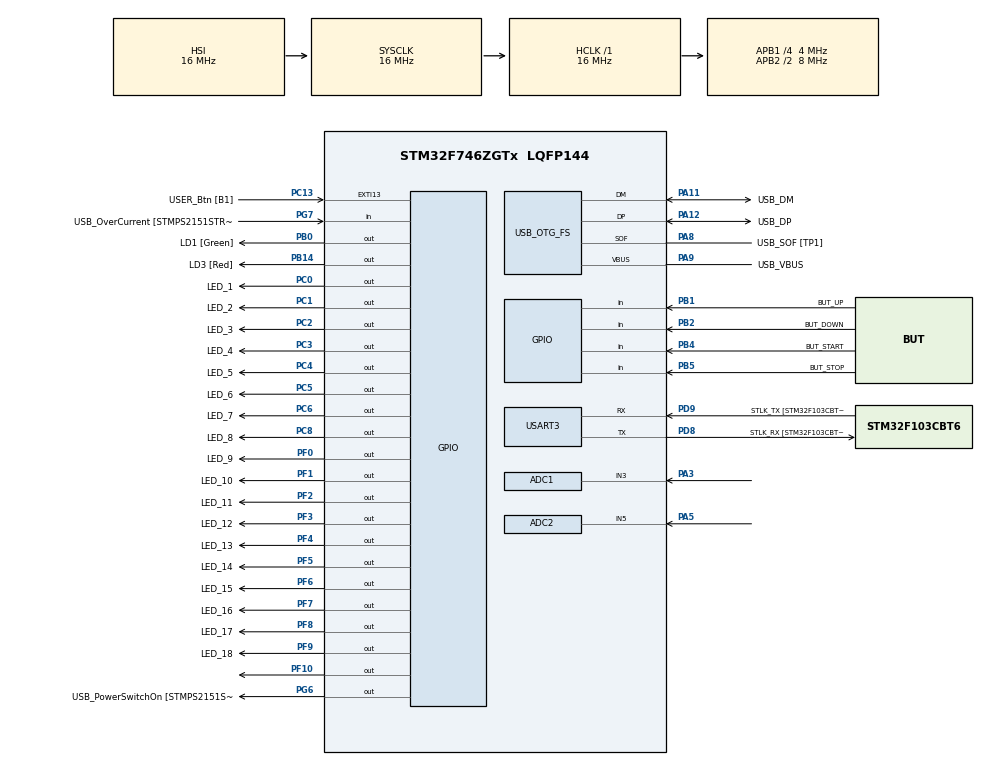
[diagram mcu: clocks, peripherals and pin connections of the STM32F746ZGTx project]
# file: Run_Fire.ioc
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ADC1.Channel-9\#ChannelRegularConversion=ADC_CHANNEL_3
ADC1.ContinuousConvMode=ENABLE
ADC1.DMAContinuousRequests=DISABLE
ADC1.NbrOfConversionFlag=1
ADC1.Rank-9\#ChannelRegularConversion=1
ADC1.SamplingTime-9\#ChannelRegularConversion=ADC_SAMPLETIME_3CYCLES
ADC1.master=1
ADC2.Channel-0\#ChannelRegularConversion=ADC_CHANNEL_5
ADC2.NbrOfConversionFlag=1
ADC2.Rank-0\#ChannelRegularConversion=1
ADC2.SamplingTime-0\#ChannelRegularConversion=ADC_SAMPLETIME_3CYCLES
CORTEX_M7.CPU_ICache=Enabled
FREERTOS.Tasks01=defaultTask,24,128,StartDefaultTask,Default,NULL,Dynamic,NULL,NULL;ButtonTask,25,400,ButtonTaskFunction,Default,NULL,Dynamic,NULL,NULL;MainFSM,19,400,MainFSMFunction,Default,NULL,Dynamic,NULL,NULL;AdcTask,8,128,AdcTaskFunction,Default,NULL,Dynamic,NULL,NULL
Mcu.Family=STM32F7
Mcu.Name=STM32F746ZGTx
Mcu.Package=LQFP144
NVIC.ADC_IRQn=true\:5\:0\:false\:false\:true\:true\:true\:true
NVIC.PriorityGroup=NVIC_PRIORITYGROUP_4
NVIC.RCC_IRQn=true\:5\:0\:false\:false\:true\:true\:true\:false
NVIC.TIM1_TRG_COM_TIM11_IRQn=true\:15\:0\:false\:false\:true\:false\:false\:true
NVIC.TIM7_IRQn=true\:5\:0\:false\:false\:true\:true\:true\:true
NVIC.TimeBase=TIM1_TRG_COM_TIM11_IRQn
NVIC.TimeBaseIP=TIM11
PA1.GPIO_Label=RMII_REF_CLK [LAN8742A-CZ-TR_REFCLK0]
PA1.Signal=ETH_REF_CLK
PA10.GPIO_Label=USB_ID
PA10.Signal=USB_OTG_FS_ID
PA11.GPIO_Label=USB_DM
PA11.Mode=Device_Only
PA11.Signal=USB_OTG_FS_DM
PA12.GPIO_Label=USB_DP
PA12.Mode=Device_Only
PA12.Signal=USB_OTG_FS_DP
PA13.GPIO_Label=TMS
PA13.Mode=Serial_Wire
PA13.Signal=SYS_JTMS-SWDIO
PA14.GPIO_Label=TCK
PA14.Mode=Serial_Wire
PA14.Signal=SYS_JTCK-SWCLK
PA2.GPIO_Label=RMII_MDIO [LAN8742A-CZ-TR_MDIO]
PA2.Signal=ETH_MDIO
PA3.Signal=ADCx_IN3
PA5.Signal=ADCx_IN5
PA7.GPIO_Label=RMII_CRS_DV [LAN8742A-CZ-TR_CRS_DV]
PA7.Signal=ETH_CRS_DV
PA8.GPIO_Label=USB_SOF [TP1]
PA8.Mode=Activate_SOF_FS
PA8.Signal=USB_OTG_FS_SOF
PA9.GPIO_Label=USB_VBUS
PA9.Mode=Activate_VBUS
PA9.Signal=USB_OTG_FS_VBUS
PB0.GPIO_Label=LD1 [Green]
PB0.Signal=GPIO_Output
PB1.GPIO_Label=BUT_UP
PB1.GPIO_PuPd=GPIO_PULLUP
PB1.Signal=GPIO_Input
PB13.GPIO_Label=RMII_TXD1 [LAN8742A-CZ-TR_TXD1]
PB13.Signal=ETH_TXD1
PB14.GPIO_Label=LD3 [Red]
PB14.Signal=GPIO_Output
PB2.GPIO_Label=BUT_DOWN
PB2.GPIO_PuPd=GPIO_PULLUP
PB2.Signal=GPIO_Input
PB3.GPIO_Label=SW0
PB3.Signal=SYS_JTDO-SWO
PB4.GPIO_Label=BUT_START
PB4.GPIO_PuPd=GPIO_PULLUP
PB4.Signal=GPIO_Input
PB5.GPIO_Label=BUT_STOP
PB5.GPIO_PuPd=GPIO_PULLUP
PB5.Signal=GPIO_Input
PC0.GPIO_Label=LED_1
PC0.Signal=GPIO_Output
PC1.GPIO_Label=LED_2
PC1.Signal=GPIO_Output
PC13.GPIO_Label=USER_Btn [B1]
PC13.Signal=GPXTI13
PC14/OSC32_IN.Mode=LSE-External-Clock-Source
PC14/OSC32_IN.Signal=RCC_OSC32_IN
PC15/OSC32_OUT.Mode=LSE-External-Clock-Source
PC15/OSC32_OUT.Signal=RCC_OSC32_OUT
PC2.GPIO_Label=LED_3
PC2.Signal=GPIO_Output
PC3.GPIO_Label=LED_4
PC3.Signal=GPIO_Output
PC4.GPIO_Label=LED_5
PC4.Signal=GPIO_Output
PC5.GPIO_Label=LED_6
PC5.Signal=GPIO_Output
PC6.GPIO_Label=LED_7
PC6.Signal=GPIO_Output
PC8.GPIO_Label=LED_8
PC8.Signal=GPIO_Output
PD8.GPIO_Label=STLK_RX [STM32F103CBT6_PA3]
PD8.Mode=Asynchronous
PD8.Signal=USART3_TX
PD9.GPIO_Label=STLK_TX [STM32F103CBT6_PA2]
PD9.Mode=Asynchronous
PD9.Signal=USART3_RX
PF0.GPIO_Label=LED_9
PF0.Signal=GPIO_Output
PF1.GPIO_Label=LED_10
PF1.Signal=GPIO_Output
PF10.Signal=GPIO_Output
PF2.GPIO_Label=LED_11
PF2.Signal=GPIO_Output
PF3.GPIO_Label=LED_12
PF3.Signal=GPIO_Output
PF4.GPIO_Label=LED_13
PF4.Signal=GPIO_Output
PF5.GPIO_Label=LED_14
PF5.Signal=GPIO_Output
PF6.GPIO_Label=LED_15
PF6.Signal=GPIO_Output
PF7.GPIO_Label=LED_16
PF7.Signal=GPIO_Output
PF8.GPIO_Label=LED_17
PF8.Signal=GPIO_Output
PF9.GPIO_Label=LED_18
PF9.Signal=GPIO_Output
PG11.GPIO_Label=RMII_TX_EN [LAN8742A-CZ-TR_TXEN]
PG11.Signal=ETH_TX_EN
PG13.GPIO_Label=RMII_TXD0 [LAN8742A-CZ-TR_TXD0]
PG13.Signal=ETH_TXD0
PG6.GPIO_Label=USB_PowerSwitchOn [STMPS2151STR_EN]
PG6.Signal=GPIO_Output
PG7.GPIO_Label=USB_OverCurrent [STMPS2151STR_FAULT]
PG7.Signal=GPIO_Input
PH0/OSC_IN.GPIO_Label=MCO [STM32F103CBT6_PA8]
PH0/OSC_IN.Mode=HSE-External-Clock-Source
PH0/OSC_IN.Signal=RCC_OSC_IN
PH1/OSC_OUT.Mode=HSE-External-Clock-Source
PH1/OSC_OUT.Signal=RCC_OSC_OUT
ProjectManager.HeapSize=0x2000
ProjectManager.StackSize=0x4000
ProjectManager.TargetToolchain=MDK-ARM V5.32
RCC.48MHZClocksFreq_Value=24000000
RCC.AHBFreq_Value=16000000
RCC.APB1CLKDivider=RCC_HCLK_DIV4
RCC.APB1Freq_Value=4000000
RCC.APB1TimFreq_Value=8000000
RCC.APB2CLKDivider=RCC_HCLK_DIV2
RCC.APB2Freq_Value=8000000
RCC.APB2TimFreq_Value=16000000
RCC.CortexFreq_Value=16000000
RCC.HCLKFreq_Value=16000000
RCC.HSE_VALUE=8000000
RCC.HSI_VALUE=16000000
RCC.PLLM=4
RCC.PLLMUL=RCC_PLL_MUL9
RCC.PLLN=72
RCC.PLLQ=3
RCC.PRESCALERUSB=RCC_USBCLKSOURCE_PLL_DIV1_5
RCC.SYSCLKFreq_VALUE=16000000
RCC.SYSCLKSourceVirtual=RCC_SYSCLKSOURCE_PLLCLK
RCC.USBFreq_Value=48000000
RCC.VCOOutputFreq_Value=144000000
SH.ADCx_IN3.0=ADC1_IN3,IN3
SH.ADCx_IN5.0=ADC2_IN5,IN5
TIM7.Period=1999
TIM7.Prescaler=15
USART3.VirtualMode-Asynchronous=VM_ASYNC
USB_OTG_FS.VirtualMode=Device_Only
VP_FREERTOS_VS_CMSIS_V2.Mode=CMSIS_V2
VP_SYS_VS_tim11.Mode=TIM11
VP_TIM7_VS_ClockSourceINT.Mode=Enable_Timer
board=NUCLEO-F746ZG

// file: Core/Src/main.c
/* USER CODE BEGIN Header */
/**
  ******************************************************************************
  * @file           : main.c
  * @brief          : Main program body
  ******************************************************************************
  * @attention
  *
  * <h2><center>&copy; Copyright (c) 2021 STMicroelectronics.
  * All rights reserved.</center></h2>
  *
  * This software component is licensed by ST under Ultimate Liberty license
  * SLA0044, the "License"; You may not use this file except in compliance with
  * the License. You may obtain a copy of the License at:
  *                             www.st.com/SLA0044
  *
  ******************************************************************************
  */
/* USER CODE END Header */
#include "main.h"
#include "cmsis_os.h"

/* USER CODE BEGIN Includes */

#include "mainFSM.h"
#include "ButtonHandler.h"

/* USER CODE END Includes */

ADC_HandleTypeDef hadc1;
ADC_HandleTypeDef hadc2;

TIM_HandleTypeDef htim7;

UART_HandleTypeDef huart3;

PCD_HandleTypeDef hpcd_USB_OTG_FS;

/* Definitions for defaultTask */
osThreadId_t defaultTaskHandle;
const osThreadAttr_t defaultTask_attributes = {
  .name = "defaultTask",
  .stack_size = 128 * 4,
  .priority = (osPriority_t) osPriorityNormal,
};
/* Definitions for ButtonTask */
osThreadId_t ButtonTaskHandle;
const osThreadAttr_t ButtonTask_attributes = {
  .name = "ButtonTask",
  .stack_size = 400 * 4,
  .priority = (osPriority_t) osPriorityNormal1,
};
/* Definitions for MainFSM */
osThreadId_t MainFSMHandle;
const osThreadAttr_t MainFSM_attributes = {
  .name = "MainFSM",
  .stack_size = 400 * 4,
  .priority = (osPriority_t) osPriorityBelowNormal3,
};
/* Definitions for AdcTask */
osThreadId_t AdcTaskHandle;
const osThreadAttr_t AdcTask_attributes = {
  .name = "AdcTask",
  .stack_size = 128 * 4,
  .priority = (osPriority_t) osPriorityLow,
};
/* USER CODE BEGIN PV */

volatile uint16_t value_ch1 = 0;
volatile uint16_t value_ch2 = 0;

volatile uint16_t  old_value_ch1= 0;
volatile uint16_t  old_value_ch2 = 0;

float coefLedTime = 0;
float coefSpeedTime = 0;

uint8_t flag_test = 0x00;

/* USER CODE END PV */

void SystemClock_Config(void);
static void MX_GPIO_Init(void);
static void MX_ADC1_Init(void);
static void MX_USART3_UART_Init(void);
static void MX_TIM7_Init(void);
static void MX_USB_OTG_FS_PCD_Init(void);
static void MX_ADC2_Init(void);
void StartDefaultTask(void *argument);
void ButtonTaskFunction(void *argument);
void MainFSMFunction(void *argument);
void AdcTaskFunction(void *argument);

/* USER CODE BEGIN PFP */
static void CPU_CACHE_Enable(void);
/* USER CODE END PFP */

int main(void)
{
  /* USER CODE BEGIN 1 */
//	 CPU_CACHE_Enable();
  /* USER CODE END 1 */

  /* Enable I-Cache---------------------------------------------------------*/
  SCB_EnableICache();

  /* MCU Configuration--------------------------------------------------------*/

  /* Reset of all peripherals, Initializes the Flash interface and the Systick. */
  HAL_Init();

  /* Configure the system clock */
  SystemClock_Config();

  /* Initialize all configured peripherals */
  MX_GPIO_Init();
  MX_ADC1_Init();
  MX_USART3_UART_Init();
  MX_TIM7_Init();
  MX_USB_OTG_FS_PCD_Init();
  MX_ADC2_Init();
  /* USER CODE BEGIN 2 */

	HAL_ADC_Start(&hadc1);
	HAL_ADC_Start(&hadc2);

  HAL_ADC_Start_IT(&hadc1);
	HAL_ADC_Start_IT(&hadc2);

  /* USER CODE END 2 */

  /* Init scheduler */
  osKernelInitialize();

  /* Create the thread(s) */
  /* creation of defaultTask */
  defaultTaskHandle = osThreadNew(StartDefaultTask, NULL, &defaultTask_attributes);

  /* creation of ButtonTask */
  ButtonTaskHandle = osThreadNew(ButtonTaskFunction, NULL, &ButtonTask_attributes);

  /* creation of MainFSM */
  MainFSMHandle = osThreadNew(MainFSMFunction, NULL, &MainFSM_attributes);

  /* creation of AdcTask */
 // AdcTaskHandle = osThreadNew(AdcTaskFunction, NULL, &AdcTask_attributes);

  /* Start scheduler */
  osKernelStart();

  /* We should never get here as control is now taken by the scheduler */
  /* Infinite loop */
  while (1)
  {

  }
}

void SystemClock_Config(void)
{
  RCC_OscInitTypeDef RCC_OscInitStruct = {0};
  RCC_ClkInitTypeDef RCC_ClkInitStruct = {0};
  RCC_PeriphCLKInitTypeDef PeriphClkInitStruct = {0};

  /** Configure the main internal regulator output voltage
  */
  __HAL_RCC_PWR_CLK_ENABLE();
  __HAL_PWR_VOLTAGESCALING_CONFIG(PWR_REGULATOR_VOLTAGE_SCALE3);
  /** Initializes the RCC Oscillators according to the specified parameters
  * in the RCC_OscInitTypeDef structure.
  */
  RCC_OscInitStruct.OscillatorType = RCC_OSCILLATORTYPE_HSI|RCC_OSCILLATORTYPE_HSE;
  RCC_OscInitStruct.HSEState = RCC_HSE_BYPASS;
  RCC_OscInitStruct.HSIState = RCC_HSI_ON;
  RCC_OscInitStruct.HSICalibrationValue = RCC_HSICALIBRATION_DEFAULT;
  RCC_OscInitStruct.PLL.PLLState = RCC_PLL_ON;
  RCC_OscInitStruct.PLL.PLLSource = RCC_PLLSOURCE_HSE;
  RCC_OscInitStruct.PLL.PLLM = 4;
  RCC_OscInitStruct.PLL.PLLN = 72;
  RCC_OscInitStruct.PLL.PLLP = RCC_PLLP_DIV2;
  RCC_OscInitStruct.PLL.PLLQ = 3;
  if (HAL_RCC_OscConfig(&RCC_OscInitStruct) != HAL_OK)
  {
    Error_Handler();
  }
  /** Initializes the CPU, AHB and APB buses clocks
  */
  RCC_ClkInitStruct.ClockType = RCC_CLOCKTYPE_HCLK|RCC_CLOCKTYPE_SYSCLK
                              |RCC_CLOCKTYPE_PCLK1|RCC_CLOCKTYPE_PCLK2;
  RCC_ClkInitStruct.SYSCLKSource = RCC_SYSCLKSOURCE_HSI;
  RCC_ClkInitStruct.AHBCLKDivider = RCC_SYSCLK_DIV1;
  RCC_ClkInitStruct.APB1CLKDivider = RCC_HCLK_DIV4;
  RCC_ClkInitStruct.APB2CLKDivider = RCC_HCLK_DIV2;

  if (HAL_RCC_ClockConfig(&RCC_ClkInitStruct, FLASH_LATENCY_0) != HAL_OK)
  {
    Error_Handler();
  }
  PeriphClkInitStruct.PeriphClockSelection = RCC_PERIPHCLK_USART3|RCC_PERIPHCLK_CLK48;
  PeriphClkInitStruct.Usart3ClockSelection = RCC_USART3CLKSOURCE_PCLK1;
  PeriphClkInitStruct.Clk48ClockSelection = RCC_CLK48SOURCE_PLL;
  if (HAL_RCCEx_PeriphCLKConfig(&PeriphClkInitStruct) != HAL_OK)
  {
    Error_Handler();
  }
}

static void MX_ADC1_Init(void)
{

  ADC_ChannelConfTypeDef sConfig = {0};

  /** Configure the global features of the ADC (Clock, Resolution, Data Alignment and number of conversion)
  */
  hadc1.Instance = ADC1;
  hadc1.Init.ClockPrescaler = ADC_CLOCK_SYNC_PCLK_DIV2;
  hadc1.Init.Resolution = ADC_RESOLUTION_12B;
  hadc1.Init.ScanConvMode = ADC_SCAN_DISABLE;
  hadc1.Init.ContinuousConvMode = ENABLE;
  hadc1.Init.DiscontinuousConvMode = DISABLE;
  hadc1.Init.ExternalTrigConvEdge = ADC_EXTERNALTRIGCONVEDGE_NONE;
  hadc1.Init.ExternalTrigConv = ADC_SOFTWARE_START;
  hadc1.Init.DataAlign = ADC_DATAALIGN_RIGHT;
  hadc1.Init.NbrOfConversion = 1;
  hadc1.Init.DMAContinuousRequests = DISABLE;
  hadc1.Init.EOCSelection = ADC_EOC_SINGLE_CONV;
  if (HAL_ADC_Init(&hadc1) != HAL_OK)
  {
    Error_Handler();
  }
  /** Configure for the selected ADC regular channel its corresponding rank in the sequencer and its sample time.
  */
  sConfig.Channel = ADC_CHANNEL_3;
  sConfig.Rank = ADC_REGULAR_RANK_1;
  sConfig.SamplingTime = ADC_SAMPLETIME_3CYCLES;
  if (HAL_ADC_ConfigChannel(&hadc1, &sConfig) != HAL_OK)
  {
    Error_Handler();
  }

}

static void MX_ADC2_Init(void)
{

  ADC_ChannelConfTypeDef sConfig = {0};

  /** Configure the global features of the ADC (Clock, Resolution, Data Alignment and number of conversion)
  */
  hadc2.Instance = ADC2;
  hadc2.Init.ClockPrescaler = ADC_CLOCK_SYNC_PCLK_DIV2;
  hadc2.Init.Resolution = ADC_RESOLUTION_12B;
  hadc2.Init.ScanConvMode = ADC_SCAN_DISABLE;
  hadc2.Init.ContinuousConvMode = ENABLE;
  hadc2.Init.DiscontinuousConvMode = DISABLE;
  hadc2.Init.ExternalTrigConvEdge = ADC_EXTERNALTRIGCONVEDGE_NONE;
  hadc2.Init.ExternalTrigConv = ADC_SOFTWARE_START;
  hadc2.Init.DataAlign = ADC_DATAALIGN_RIGHT;
  hadc2.Init.NbrOfConversion = 1;
  hadc2.Init.DMAContinuousRequests = DISABLE;
  hadc2.Init.EOCSelection = ADC_EOC_SINGLE_CONV;
  if (HAL_ADC_Init(&hadc2) != HAL_OK)
  {
    Error_Handler();
  }
  /** Configure for the selected ADC regular channel its corresponding rank in the sequencer and its sample time.
  */
  sConfig.Channel = ADC_CHANNEL_5;
  sConfig.Rank = ADC_REGULAR_RANK_1;
  sConfig.SamplingTime = ADC_SAMPLETIME_3CYCLES;
  if (HAL_ADC_ConfigChannel(&hadc2, &sConfig) != HAL_OK)
  {
    Error_Handler();
  }

}

static void MX_TIM7_Init(void)
{

  TIM_MasterConfigTypeDef sMasterConfig = {0};

  htim7.Instance = TIM7;
  htim7.Init.Prescaler = 15;
  htim7.Init.CounterMode = TIM_COUNTERMODE_UP;
  htim7.Init.Period = 1999;
  htim7.Init.AutoReloadPreload = TIM_AUTORELOAD_PRELOAD_DISABLE;
  if (HAL_TIM_Base_Init(&htim7) != HAL_OK)
  {
    Error_Handler();
  }
  sMasterConfig.MasterOutputTrigger = TIM_TRGO_RESET;
  sMasterConfig.MasterSlaveMode = TIM_MASTERSLAVEMODE_DISABLE;
  if (HAL_TIMEx_MasterConfigSynchronization(&htim7, &sMasterConfig) != HAL_OK)
  {
    Error_Handler();
  }

}

static void MX_USART3_UART_Init(void)
{

  huart3.Instance = USART3;
  huart3.Init.BaudRate = 115200;
  huart3.Init.WordLength = UART_WORDLENGTH_8B;
  huart3.Init.StopBits = UART_STOPBITS_1;
  huart3.Init.Parity = UART_PARITY_NONE;
  huart3.Init.Mode = UART_MODE_TX_RX;
  huart3.Init.HwFlowCtl = UART_HWCONTROL_NONE;
  huart3.Init.OverSampling = UART_OVERSAMPLING_16;
  huart3.Init.OneBitSampling = UART_ONE_BIT_SAMPLE_DISABLE;
  huart3.AdvancedInit.AdvFeatureInit = UART_ADVFEATURE_NO_INIT;
  if (HAL_UART_Init(&huart3) != HAL_OK)
  {
    Error_Handler();
  }

}

static void MX_USB_OTG_FS_PCD_Init(void)
{

  hpcd_USB_OTG_FS.Instance = USB_OTG_FS;
  hpcd_USB_OTG_FS.Init.dev_endpoints = 6;
  hpcd_USB_OTG_FS.Init.speed = PCD_SPEED_FULL;
  hpcd_USB_OTG_FS.Init.dma_enable = DISABLE;
  hpcd_USB_OTG_FS.Init.phy_itface = PCD_PHY_EMBEDDED;
  hpcd_USB_OTG_FS.Init.Sof_enable = ENABLE;
  hpcd_USB_OTG_FS.Init.low_power_enable = DISABLE;
  hpcd_USB_OTG_FS.Init.lpm_enable = DISABLE;
  hpcd_USB_OTG_FS.Init.vbus_sensing_enable = ENABLE;
  hpcd_USB_OTG_FS.Init.use_dedicated_ep1 = DISABLE;
  if (HAL_PCD_Init(&hpcd_USB_OTG_FS) != HAL_OK)
  {
    Error_Handler();
  }

}

static void MX_GPIO_Init(void)
{
  GPIO_InitTypeDef GPIO_InitStruct = {0};

  /* GPIO Ports Clock Enable */
  __HAL_RCC_GPIOC_CLK_ENABLE();
  __HAL_RCC_GPIOF_CLK_ENABLE();
  __HAL_RCC_GPIOH_CLK_ENABLE();
  __HAL_RCC_GPIOA_CLK_ENABLE();
  __HAL_RCC_GPIOB_CLK_ENABLE();
  __HAL_RCC_GPIOD_CLK_ENABLE();
  __HAL_RCC_GPIOG_CLK_ENABLE();

  /*Configure GPIO pin Output Level */
  HAL_GPIO_WritePin(GPIOF, LED_9_Pin|LED_10_Pin|LED_11_Pin|LED_12_Pin
                          |LED_13_Pin|LED_14_Pin|LED_15_Pin|LED_16_Pin
                          |LED_17_Pin|LED_18_Pin|GPIO_PIN_10, GPIO_PIN_RESET);

  /*Configure GPIO pin Output Level */
  HAL_GPIO_WritePin(GPIOC, LED_1_Pin|LED_2_Pin|LED_3_Pin|LED_4_Pin
                          |LED_5_Pin|LED_6_Pin|LED_7_Pin|LED_8_Pin, GPIO_PIN_RESET);

  /*Configure GPIO pin Output Level */
  HAL_GPIO_WritePin(GPIOB, LD1_Pin|LD3_Pin, GPIO_PIN_RESET);

  /*Configure GPIO pin Output Level */
  HAL_GPIO_WritePin(USB_PowerSwitchOn_GPIO_Port, USB_PowerSwitchOn_Pin, GPIO_PIN_RESET);

  /*Configure GPIO pin : USER_Btn_Pin */
  GPIO_InitStruct.Pin = USER_Btn_Pin;
  GPIO_InitStruct.Mode = GPIO_MODE_IT_RISING;
  GPIO_InitStruct.Pull = GPIO_NOPULL;
  HAL_GPIO_Init(USER_Btn_GPIO_Port, &GPIO_InitStruct);

  /*Configure GPIO pins : LED_9_Pin LED_10_Pin LED_11_Pin LED_12_Pin
                           LED_13_Pin LED_14_Pin LED_15_Pin LED_16_Pin
                           LED_17_Pin LED_18_Pin PF10 */
  GPIO_InitStruct.Pin = LED_9_Pin|LED_10_Pin|LED_11_Pin|LED_12_Pin
                          |LED_13_Pin|LED_14_Pin|LED_15_Pin|LED_16_Pin
                          |LED_17_Pin|LED_18_Pin|GPIO_PIN_10;
  GPIO_InitStruct.Mode = GPIO_MODE_OUTPUT_PP;
  GPIO_InitStruct.Pull = GPIO_NOPULL;
  GPIO_InitStruct.Speed = GPIO_SPEED_FREQ_LOW;
  HAL_GPIO_Init(GPIOF, &GPIO_InitStruct);

  /*Configure GPIO pins : LED_1_Pin LED_2_Pin LED_3_Pin LED_4_Pin
                           LED_5_Pin LED_6_Pin LED_7_Pin LED_8_Pin */
  GPIO_InitStruct.Pin = LED_1_Pin|LED_2_Pin|LED_3_Pin|LED_4_Pin
                          |LED_5_Pin|LED_6_Pin|LED_7_Pin|LED_8_Pin;
  GPIO_InitStruct.Mode = GPIO_MODE_OUTPUT_PP;
  GPIO_InitStruct.Pull = GPIO_NOPULL;
  GPIO_InitStruct.Speed = GPIO_SPEED_FREQ_LOW;
  HAL_GPIO_Init(GPIOC, &GPIO_InitStruct);

  /*Configure GPIO pins : RMII_REF_CLK_Pin RMII_MDIO_Pin RMII_CRS_DV_Pin */
  GPIO_InitStruct.Pin = RMII_REF_CLK_Pin|RMII_MDIO_Pin|RMII_CRS_DV_Pin;
  GPIO_InitStruct.Mode = GPIO_MODE_AF_PP;
  GPIO_InitStruct.Pull = GPIO_NOPULL;
  GPIO_InitStruct.Speed = GPIO_SPEED_FREQ_VERY_HIGH;
  GPIO_InitStruct.Alternate = GPIO_AF11_ETH;
  HAL_GPIO_Init(GPIOA, &GPIO_InitStruct);

  /*Configure GPIO pins : LD1_Pin LD3_Pin */
  GPIO_InitStruct.Pin = LD1_Pin|LD3_Pin;
  GPIO_InitStruct.Mode = GPIO_MODE_OUTPUT_PP;
  GPIO_InitStruct.Pull = GPIO_NOPULL;
  GPIO_InitStruct.Speed = GPIO_SPEED_FREQ_LOW;
  HAL_GPIO_Init(GPIOB, &GPIO_InitStruct);

  /*Configure GPIO pins : BUT_UP_Pin BUT_DOWN_Pin BUT_START_Pin BUT_STOP_Pin */
  GPIO_InitStruct.Pin = BUT_UP_Pin|BUT_DOWN_Pin|BUT_START_Pin|BUT_STOP_Pin;
  GPIO_InitStruct.Mode = GPIO_MODE_INPUT;
  GPIO_InitStruct.Pull = GPIO_PULLUP;
  HAL_GPIO_Init(GPIOB, &GPIO_InitStruct);

  /*Configure GPIO pin : RMII_TXD1_Pin */
  GPIO_InitStruct.Pin = RMII_TXD1_Pin;
  GPIO_InitStruct.Mode = GPIO_MODE_AF_PP;
  GPIO_InitStruct.Pull = GPIO_NOPULL;
  GPIO_InitStruct.Speed = GPIO_SPEED_FREQ_VERY_HIGH;
  GPIO_InitStruct.Alternate = GPIO_AF11_ETH;
  HAL_GPIO_Init(RMII_TXD1_GPIO_Port, &GPIO_InitStruct);

  /*Configure GPIO pin : USB_PowerSwitchOn_Pin */
  GPIO_InitStruct.Pin = USB_PowerSwitchOn_Pin;
  GPIO_InitStruct.Mode = GPIO_MODE_OUTPUT_PP;
  GPIO_InitStruct.Pull = GPIO_NOPULL;
  GPIO_InitStruct.Speed = GPIO_SPEED_FREQ_LOW;
  HAL_GPIO_Init(USB_PowerSwitchOn_GPIO_Port, &GPIO_InitStruct);

  /*Configure GPIO pin : USB_OverCurrent_Pin */
  GPIO_InitStruct.Pin = USB_OverCurrent_Pin;
  GPIO_InitStruct.Mode = GPIO_MODE_INPUT;
  GPIO_InitStruct.Pull = GPIO_NOPULL;
  HAL_GPIO_Init(USB_OverCurrent_GPIO_Port, &GPIO_InitStruct);

  /*Configure GPIO pins : RMII_TX_EN_Pin RMII_TXD0_Pin */
  GPIO_InitStruct.Pin = RMII_TX_EN_Pin|RMII_TXD0_Pin;
  GPIO_InitStruct.Mode = GPIO_MODE_AF_PP;
  GPIO_InitStruct.Pull = GPIO_NOPULL;
  GPIO_InitStruct.Speed = GPIO_SPEED_FREQ_VERY_HIGH;
  GPIO_InitStruct.Alternate = GPIO_AF11_ETH;
  HAL_GPIO_Init(GPIOG, &GPIO_InitStruct);

}

/* USER CODE BEGIN 4 */

void HAL_ADC_ConvCpltCallback(ADC_HandleTypeDef* hadc)
{
    if(hadc->Instance == ADC1)
    {
      value_ch1 = HAL_ADC_GetValue(&hadc1);

		}
		else if(hadc->Instance == ADC2)
    {
      value_ch2 = HAL_ADC_GetValue(&hadc2);

		}

}

/**
  * @brief  CPU L1-Cache enable.
  * @param  None
  * @retval None
  */
static void CPU_CACHE_Enable(void)
{
  /* Enable I-Cache */
  //SCB_EnableICache();

  /* Enable D-Cache */
  //SCB_EnableDCache();
}

/* USER CODE END 4 */

void StartDefaultTask(void *argument)
{
  /* USER CODE BEGIN 5 */
  /* Infinite loop */
 for(;;)
  {

	     if((old_value_ch1 - value_ch1)  > 3 || (value_ch1  - old_value_ch1) > 3)
			 {
		     coefLedTime =    (float)((float)value_ch1/(float)4092) ;
			 }

		   if((old_value_ch2 - value_ch2)  > 3 || (value_ch2  - old_value_ch2) > 3)
			 {
        coefSpeedTime =  (float) ((float)value_ch2/(float)4092) ;
       }

		  LedTime   =   (uint16_t) (LED_TIME *   coefLedTime );
		  SpeedTime =   (uint16_t) (SPEED_TIME * coefSpeedTime);

			old_value_ch1 = value_ch1 ;
		  old_value_ch2 = value_ch1;

 		   osDelay(3);

		 HAL_ADC_Start_IT(&hadc1);
		 HAL_ADC_Start_IT(&hadc2);

  }
  /* USER CODE END 5 */
}

void ButtonTaskFunction(void *argument)
{
  /* USER CODE BEGIN ButtonTaskFunction */
  /* Infinite loop */
  for(;;)
  {
		readButtons();

    osDelay(2);
  }
  /* USER CODE END ButtonTaskFunction */
}

void MainFSMFunction(void *argument)
{
  /* USER CODE BEGIN MainFSMFunction */

	  flag_run = 0;
  /* Infinite loop */
  for(;;)
  {

		if(flag_run)
		{
	    run_fire(ChannelNumber, LedTime, SpeedTime);
		}
		else

		{

		}

    osDelay(1);
  }
  /* USER CODE END MainFSMFunction */
}

///* USER CODE BEGIN Header_AdcTaskFunction */
///**
//* @brief Function implementing the AdcTask thread.
//* @param argument: Not used
//* @retval None
//*/
///* USER CODE END Header_AdcTaskFunction */
//void AdcTaskFunction(void *argument)
//{
//  /* USER CODE BEGIN AdcTaskFunction */
//  /* Infinite loop */
//  for(;;)
//  {
//
//  	osDelay(10);
//  }
//  /* USER CODE END AdcTaskFunction */
//}

void HAL_TIM_PeriodElapsedCallback(TIM_HandleTypeDef *htim)
{
  if (htim->Instance == TIM11) {
    HAL_IncTick();
  }
}

void Error_Handler(void)
{
  /* USER CODE BEGIN Error_Handler_Debug */
  /* User can add his own implementation to report the HAL error return state */
  //__disable_irq();
  while (1)
  {
  }
  /* USER CODE END Error_Handler_Debug */
}

/************************ (C) COPYRIGHT STMicroelectronics *****END OF FILE****/
